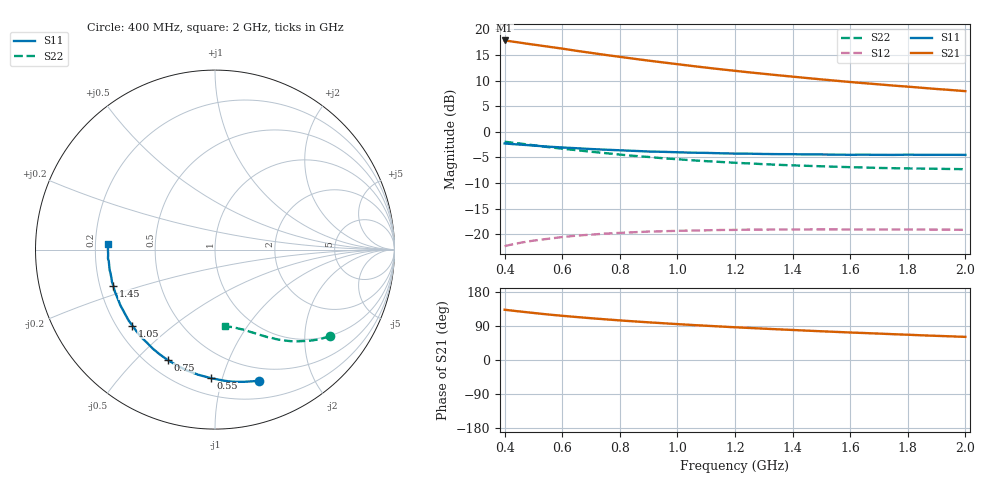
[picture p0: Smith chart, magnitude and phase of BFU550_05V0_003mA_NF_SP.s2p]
! Filename:  P:\Prog\Test\Noise\ATS_data\Testdata_Net\06 Compressed Noise after Statistics\BFU550_APG2013_43_D05_05p0V_003mA_NF_CM01_D.sf
! Date/Time: Fri 26/Apr/2013 13:07:21
! BFU550_APG2013_43_D05_05p0V_1to35mA_NF_CM01_Bias3_R.sf
! Noise Parameter Data File
! BFU550_APG2013_43_D05_05p0V_1to35mA_NF_CM01
! Date/time: Thu Apr 25 16:23:08 2013
! VAR V_out= 5.001000
! VAR I_out= 2.995000
! VAR V_in= 0.802900
! VAR I_in= 0.032210
! Device data file deembeded for feedlines and parallel
! Original file: \06 Compressed Noise after Statistics\BFU550_APG2013_43_D05_05p0V_003mA_NF_CM01_R.sf
! Feed-files: PR047V01_250413_Feed1.s2p, PR047V01_250413_Feed2.s2p
! Parallel-file: PR047V01_250413_Par.s2p
# MHz S MA R 50
!  Freq-MHz  S11-mag  S11-arg  S21-mag  S21-arg  S12-mag  S12-arg  S22-mag  S22-arg
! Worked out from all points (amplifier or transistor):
!   37 points, 400 MHz to 2 GHz, reference 50 ohm
!   highest |S21| = 17.8 dB at 400 MHz (marker M1)
!   |S21| within 3 dB of that: start of sweep to 774.2 MHz
!   unconditionally stable (mu >= 1): nowhere
!   at 500 MHz: K = 0.22, MSG = 19.1 dB, |S12| = -21.2 dB
!   at 1.1 GHz: K = 0.46, MSG = 15.9 dB, |S12| = -19.2 dB
!   at 2 GHz: K = 0.84, MSG = 13.5 dB, |S12| = -19.1 dB
!   lowest NFmin = 0.53 dB at 440 MHz
!   S11 on the Smith chart (normalised r, x): 400 MHz: 0.37, -1.32; 550 MHz: 0.31, -0.92; 750 MHz: 0.28, -0.62; 1.05 GHz: 0.26, -0.37; 1.45 GHz: 0.26, -0.16; 2 GHz: 0.25, +0.02
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400  0.7701 -71.6  7.773 132.7  0.0767 51.9  0.8005 -37.1
440  0.755 -77.3  7.497 129.1  0.08122 49.3  0.776 -39.6
460  0.7479 -80.0  7.354 127.4  0.08332 48.0  0.7649 -40.9
500  0.7341 -85.4  7.087 124.2  0.08688 45.7  0.7398 -43.2
550  0.7164 -91.9  6.771 120.2  0.09047 42.9  0.7096 -45.9
600  0.7033 -97.7  6.473 116.7  0.09411 40.6  0.6848 -48.3
650  0.6912 -103.2  6.159 113.4  0.09719 38.5  0.6617 -50.4
700  0.6791 -108.3  5.884 110.2  0.09934 36.5  0.6389 -52.4
750  0.6692 -113.2  5.618 107.3  0.1017 34.8  0.6194 -54.3
800  0.66 -117.8  5.383 104.5  0.1034 33.2  0.5995 -56.0
850  0.6516 -122.1  5.152 101.9  0.1049 31.8  0.5824 -57.5
900  0.6422 -126.3  4.943 99.4  0.1065 30.4  0.5683 -59.1
950  0.638 -130.1  4.749 97.0  0.1072 29.2  0.5523 -60.6
1050  0.6256 -137.3  4.387 92.4  0.1088 27.2  0.5277 -63.3
1200  0.6132 -146.9  3.931 86.3  0.1106 24.7  0.4988 -66.8
1300  0.6075 -152.4  3.676 82.7  0.1112 23.6  0.4834 -68.9
1450  0.6013 -160.3  3.343 77.5  0.1117 22.2  0.4657 -72.0
1500  0.6015 -162.6  3.243 75.8  0.1118 21.8  0.4612 -73.0
1600  0.5969 -167.4  3.057 72.6  0.1116 21.2  0.4519 -75.0
1750  0.5953 -173.6  2.821 68.1  0.1114 20.8  0.4416 -77.8
1850  0.5959 -177.5  2.684 65.1  0.1114 20.6  0.4382 -79.6
2000  0.5954 177.1  2.49 61.0  0.1107 20.8  0.4319 -82.4
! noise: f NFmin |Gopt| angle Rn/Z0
400  0.5487  0.3487  37.29  0.1466
460  0.5482  0.3323  45.52  0.1261
600  0.5875  0.3505  52.44  0.1263
800  0.6611  0.3594  69  0.1198
1000  0.6869  0.3608  84.9  0.1121
1200  0.7492  0.3749  97.23  0.1077
1400  0.7777  0.3967  111.6  0.0928
1600  0.8147  0.4062  127.8  0.0763
1800  0.6573  0.4457  140.7  0.0605
2000  0.9368  0.4679  152.8  0.0555
